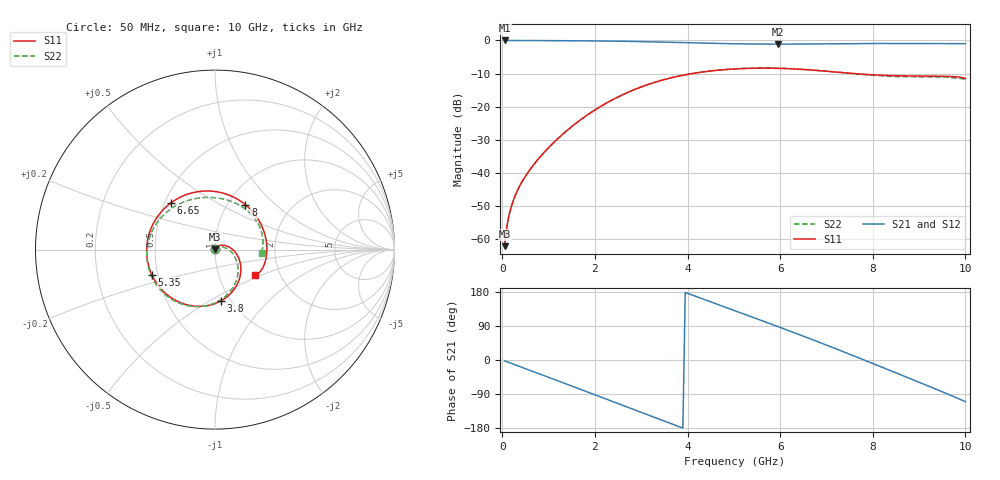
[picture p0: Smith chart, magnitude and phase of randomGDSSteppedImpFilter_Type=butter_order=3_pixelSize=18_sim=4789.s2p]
! freq	dB(S11)	phase(S11)	dB(S12)	phase(S12)
!  dB(S21)	phase(S21)	dB(S22)	phase(S22)
!S-par simulation data
#  GHz  S  DB  R 50
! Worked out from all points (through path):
!   200 points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, 50 MHz to 10 GHz, reference 50 ohm
!   highest |S21| = 0.00 dB at 50 MHz (marker M1); lowest = -1.1 dB at 5.95 GHz (marker M2)
!   group delay of S21, straight-line fit = 129 ps
!   lowest |S11| = -62.2 dB at 50 MHz (marker M3), VSWR 1.00, Z = 50 + j0.077 ohm
!   |S11| at or under -10 dB: start of sweep to 4.106 GHz; 7.578 GHz to end of sweep
!   |S22| runs from -62.1 to -8.3 dB; largest |S21 - S12| = 0
!   S11 on the Smith chart (normalised r, x): 50 MHz: 1.00, +0.00; 3.8 GHz: 0.90, -0.56; 5.35 GHz: 0.46, -0.15; 6.65 GHz: 0.54, +0.32; 8 GHz: 1.21, +0.66; 10 GHz: 1.49, -0.46
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0.05  -62.21 83.1  -0.00 -2.3  -0.00 -2.3  -62.15 81.9
0.1  -56.17 84.0  -0.00 -4.6  -0.00 -4.6  -56.12 81.8
0.2  -50.00 82.0  -0.01 -9.2  -0.01 -9.2  -49.96 77.5
0.45  -42.17 74.1  -0.02 -20.7  -0.02 -20.7  -42.18 64.7
1.15  -30.32 45.5  -0.07 -52.6  -0.07 -52.6  -30.38 30.9
1.75  -23.37 17.2  -0.11 -80.3  -0.11 -80.3  -23.42 4.1
2.5  -17.07 -19.5  -0.22 -115.1  -0.22 -115.1  -17.10 -29.0
2.95  -14.32 -41.8  -0.33 -136.0  -0.33 -136.0  -14.32 -49.0
3.4  -12.21 -64.1  -0.47 -156.7  -0.47 -156.7  -12.20 -68.9
3.8  -10.81 -83.6  -0.62 -175.0  -0.62 -175.0  -10.79 -86.3
4.4  -9.40 -112.4  -0.83 157.9  -0.83 157.9  -9.37 -111.5
5.05  -8.60 -143.5  -1.01 128.8  -1.01 128.8  -8.54 -137.8
5.35  -8.43 -158.1  -1.07 115.4  -1.07 115.4  -8.37 -149.7
5.95  -8.43 171.5  -1.12 88.3  -1.12 88.3  -8.36 -173.5
6.65  -8.93 133.4  -1.07 55.9  -1.07 55.9  -8.87 158.8
6.7  -8.98 130.6  -1.07 53.6  -1.07 53.6  -8.92 156.8
7.4  -9.80 90.0  -0.97 20.2  -0.97 20.2  -9.80 128.6
8  -10.40 55.8  -0.92 -9.2  -0.92 -9.2  -10.53 103.5
8.35  -10.61 37.2  -0.92 -26.4  -0.92 -26.4  -10.81 87.8
9.2  -10.78 -1.5  -0.96 -68.7  -0.96 -68.7  -11.00 43.7
9.6  -10.84 -16.7  -0.97 -88.9  -0.97 -88.9  -11.15 19.9
10  -11.50 -32.6  -0.96 -110.0  -0.96 -110.0  -11.69 -3.6
